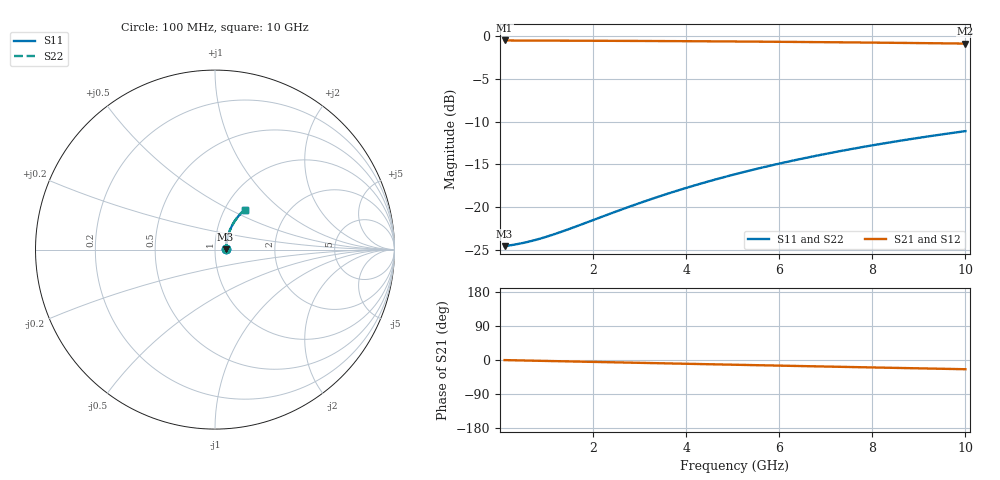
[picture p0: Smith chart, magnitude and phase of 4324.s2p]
# Hz S RI R 50.00
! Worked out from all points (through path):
!   100 points, 100 MHz to 10 GHz, reference 50 ohm
!   highest |S21| = -0.53 dB at 100 MHz (marker M1); lowest = -0.9 dB at 10 GHz (marker M2)
!   group delay of S21, straight-line fit = 6.77 ps
!   lowest |S11| = -24.5 dB at 100 MHz (marker M3), VSWR 1.13, Z = 56.3 + j0.297 ohm
!   |S11| at or under -10 dB: start of sweep to end of sweep
!   |S22| runs from -24.5 to -11.1 dB; largest |S21 - S12| = 0
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1e8  0.0592 0.00263  0.9408 -0.00411  0.9408 -0.00411  0.0592 0.00263
3e8  0.0599 0.00786  0.94 -0.0123  0.94 -0.0123  0.0599 0.00786
5e8  0.0605 0.0131  0.9394 -0.0205  0.9394 -0.0205  0.0605 0.0131
8e8  0.0614 0.0209  0.9385 -0.0328  0.9385 -0.0328  0.0614 0.0209
1e9  0.062 0.0261  0.9378 -0.0409  0.9378 -0.0409  0.062 0.0261
1.2e9  0.0627 0.0313  0.9371 -0.0491  0.9371 -0.0491  0.0627 0.0313
1.5e9  0.0639 0.039  0.9358 -0.0613  0.9358 -0.0613  0.0639 0.039
1.8e9  0.0653 0.0467  0.9343 -0.0734  0.9343 -0.0734  0.0653 0.0467
2.7e9  0.0704 0.0695  0.9288 -0.1096  0.9288 -0.1096  0.0704 0.0695
3.1e9  0.0732 0.0795  0.9257 -0.1255  0.9257 -0.1255  0.0732 0.0795
3.4e9  0.0755 0.0869  0.9232 -0.1374  0.9232 -0.1374  0.0755 0.0869
3.8e9  0.0789 0.0967  0.9195 -0.1531  0.9195 -0.1531  0.0789 0.0967
4.2e9  0.0825 0.1063  0.9154 -0.1686  0.9154 -0.1686  0.0825 0.1063
4.6e9  0.0865 0.1157  0.911 -0.184  0.911 -0.184  0.0865 0.1157
5.1e9  0.0919 0.1273  0.9051 -0.203  0.9051 -0.203  0.0919 0.1273
5.5e9  0.0966 0.1364  0.8999 -0.2181  0.8999 -0.2181  0.0966 0.1364
5.9e9  0.1016 0.1452  0.8944 -0.2329  0.8944 -0.2329  0.1016 0.1452
6.7e9  0.1123 0.1623  0.8825 -0.2619  0.8825 -0.2619  0.1123 0.1623
7.5e9  0.1241 0.1785  0.8695 -0.29  0.8695 -0.29  0.1241 0.1785
8.4e9  0.1384 0.1956  0.8534 -0.3206  0.8534 -0.3206  0.1384 0.1956
9.2e9  0.1521 0.2097  0.8381 -0.3467  0.8381 -0.3467  0.1521 0.2097
1e10  0.1665 0.2227  0.8219 -0.3717  0.8219 -0.3717  0.1665 0.2227
